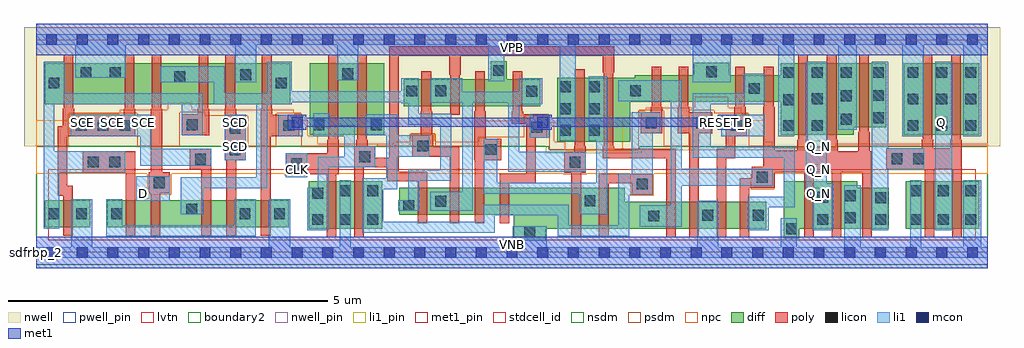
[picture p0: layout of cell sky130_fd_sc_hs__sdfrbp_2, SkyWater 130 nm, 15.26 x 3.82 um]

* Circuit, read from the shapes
.subckt sky130_fd_sc_hs__sdfrbp_2 CLK D Q Q_N RESET_B SCD SCE VGND VNB VPB VPWR
XM1 VGND SCE n1 VNB sky130_fd_pr__nfet_01v8_lvt w=0.42 l=0.15
XM2 n2 n1 n3 VNB sky130_fd_pr__nfet_01v8_lvt w=0.42 l=0.15
XM3 n4 D n2 VNB sky130_fd_pr__nfet_01v8_lvt w=0.42 l=0.15
XM4 n5 SCE n4 VNB sky130_fd_pr__nfet_01v8_lvt w=0.42 l=0.15
XM5 n3 SCD n5 VNB sky130_fd_pr__nfet_01v8_lvt w=0.42 l=0.15
XM6 VGND RESET_B n3 VNB sky130_fd_pr__nfet_01v8_lvt w=0.42 l=0.15
XM7 VGND CLK n6 VNB sky130_fd_pr__nfet_01v8_lvt w=0.74 l=0.15
XM8 n7 n6 VGND VNB sky130_fd_pr__nfet_01v8_lvt w=0.74 l=0.15
XM9 n8 n6 n4 VNB sky130_fd_pr__nfet_01v8_lvt w=0.42 l=0.15
XM10 n9 n7 n8 VNB sky130_fd_pr__nfet_01v8_lvt w=0.42 l=0.15
XM11 n10 n11 n9 VNB sky130_fd_pr__nfet_01v8_lvt w=0.42 l=0.15
XM12 VGND RESET_B n10 VNB sky130_fd_pr__nfet_01v8_lvt w=0.42 l=0.15
XM13 n11 n8 VGND VNB sky130_fd_pr__nfet_01v8_lvt w=0.64 l=0.15
XM14 n12 n7 n11 VNB sky130_fd_pr__nfet_01v8_lvt w=0.64 l=0.15
XM15 n13 n6 n12 VNB sky130_fd_pr__nfet_01v8_lvt w=0.42 l=0.15
XM16 VGND n14 n13 VNB sky130_fd_pr__nfet_01v8_lvt w=0.42 l=0.15
XM17 n15 RESET_B VGND VNB sky130_fd_pr__nfet_01v8_lvt w=0.42 l=0.15
XM18 n14 n12 n15 VNB sky130_fd_pr__nfet_01v8_lvt w=0.42 l=0.15
XM19 Q_N n12 VGND VNB sky130_fd_pr__nfet_01v8_lvt w=0.74 l=0.15 m=2
XM20 n16 n12 VGND VNB sky130_fd_pr__nfet_01v8_lvt w=0.64 l=0.15
XM21 Q n16 VGND VNB sky130_fd_pr__nfet_01v8_lvt w=0.74 l=0.15 m=2
XM22 VPWR SCE n1 VPB sky130_fd_pr__pfet_01v8 w=0.64 l=0.15
XM23 n17 SCE VPWR VPB sky130_fd_pr__pfet_01v8 w=0.64 l=0.15
XM24 n4 D n17 VPB sky130_fd_pr__pfet_01v8 w=0.64 l=0.15
XM25 n18 n1 n4 VPB sky130_fd_pr__pfet_01v8 w=0.64 l=0.15
XM26 VPWR SCD n18 VPB sky130_fd_pr__pfet_01v8 w=0.64 l=0.15
XM27 n4 RESET_B VPWR VPB sky130_fd_pr__pfet_01v8 w=0.64 l=0.15
XM28 VPWR CLK n6 VPB sky130_fd_pr__pfet_01v8 w=1.12 l=0.15
XM29 n7 n6 VPWR VPB sky130_fd_pr__pfet_01v8 w=1.12 l=0.15
XM30 n8 n7 n4 VPB sky130_fd_pr__pfet_01v8 w=0.42 l=0.15
XM31 n19 n6 n8 VPB sky130_fd_pr__pfet_01v8 w=0.42 l=0.15
XM32 VPWR n11 n19 VPB sky130_fd_pr__pfet_01v8 w=0.42 l=0.15
XM33 n8 RESET_B VPWR VPB sky130_fd_pr__pfet_01v8 w=0.42 l=0.15
XM34 n11 n8 VPWR VPB sky130_fd_pr__pfet_01v8 w=1 l=0.15
XM35 n12 n6 n11 VPB sky130_fd_pr__pfet_01v8 w=1 l=0.15
XM36 n20 n7 n12 VPB sky130_fd_pr__pfet_01v8 w=0.42 l=0.15
XM37 VPWR n14 n20 VPB sky130_fd_pr__pfet_01v8 w=0.42 l=0.15
XM38 n14 RESET_B VPWR VPB sky130_fd_pr__pfet_01v8 w=0.42 l=0.15
XM39 VPWR n12 n14 VPB sky130_fd_pr__pfet_01v8 w=0.42 l=0.15
XM40 Q_N n12 VPWR VPB sky130_fd_pr__pfet_01v8 w=1.12 l=0.15 m=2
XM41 n16 n12 VPWR VPB sky130_fd_pr__pfet_01v8 w=1 l=0.15
XM42 Q n16 VPWR VPB sky130_fd_pr__pfet_01v8 w=1.12 l=0.15 m=2
.ends

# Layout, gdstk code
import gdstk
lib = gdstk.Library(unit=1e-6, precision=1e-09)
def R(c, l, rs):  # rectangles x0, y0, x1, y1
    for r in rs: c.add(gdstk.rectangle(r[:2], r[2:], *l))
def A(c, l, x, y, w, h, nx, ny, dx, dy):  # array of equal rectangles
    R(c, l, [(x+i*dx, y+j*dy, x+i*dx+w, y+j*dy+h) for i in range(nx) for j in range(ny)])
def P(c, l, *ps):  # polygons
    for p in ps: c.add(gdstk.Polygon(p, *l))
nwell_pin = (64, 16)
nwell = (64, 20)
diff = (65, 20)
poly = (66, 20)
licon = (66, 44)
li1_pin = (67, 16)
li1 = (67, 20)
mcon = (67, 44)
met1_pin = (68, 16)
met1 = (68, 20)
stdcell_id = (81, 4)
nsdm = (93, 44)
psdm = (94, 20)
npc = (95, 20)
pwell_pin = (122, 16)
lvtn = (125, 44)
boundary2 = (236, 0)

sky130_fd_sc_hs__sdfrbp_ = lib.new_cell('sky130_fd_sc_hs__sdfrbp_2')
R(sky130_fd_sc_hs__sdfrbp_, nwell_pin, [(0,3.085,14.88,3.33)])
P(sky130_fd_sc_hs__sdfrbp_, nwell, [(15.07,3.52),(-0.19,3.52),(-0.19,1.66),(7.97,1.66),(7.97,1.555),(9.47,1.555),(9.47,1.595),(12.54,1.595),(12.54,1.66),(15.07,1.66)])
R(sky130_fd_sc_hs__sdfrbp_, diff, [(4.26,0.37,5.41,1.11), (13.6,0.37,14.745,1.11), (0.135,0.395,0.845,0.815), (1.115,0.395,3.95,0.815), (4.275,1.84,5.445,2.96), (13.565,1.84,14.745,2.96), (0.135,2.32,3.975,2.96)])
P(sky130_fd_sc_hs__sdfrbp_, diff, [(7.88,2.705),(7.36,2.705),(7.36,2.99),(7.105,2.99),(7.105,2.705),(5.745,2.705),(5.745,2.285),(7.88,2.285)],
  [(11.415,0.79),(9.2,0.79),(9.2,1.01),(5.68,1.01),(5.68,0.59),(7.47,0.59),(7.47,0.18),(7.965,0.18),(7.965,0.37),(11.415,0.37)],
  [(13.295,2.96),(11.64,2.96),(11.64,2.775),(10.84,2.775),(10.84,2.97),(10.285,2.97),(10.285,2.775),(9.36,2.775),(9.36,2.735),(8.15,2.735),(8.15,1.735),(9.29,1.735),(9.29,2.355),(11.64,2.355),(11.64,1.84),(12.78,1.84),(12.78,1.96),(13.295,1.96)],
  [(13.33,1.01),(12.84,1.01),(12.84,1.11),(11.685,1.11),(11.685,0.225),(11.935,0.225),(11.935,0.37),(13.33,0.37)])
P(sky130_fd_sc_hs__sdfrbp_, poly, [(1.55,1.58),(0.725,1.58),(0.725,1.25),(1.4,1.25),(1.4,0.265),(1.55,0.265)],
  [(1.55,2.245),(1.535,2.245),(1.535,3.09),(1.385,3.09),(1.385,2.245),(1.37,2.245),(1.37,2.15),(0.595,2.15),(0.595,2.245),(0.58,2.245),(0.58,3.09),(0.43,3.09),(0.43,2.245),(0.415,2.245),(0.415,1.97),(0.335,1.97),(0.335,0.89),(0.42,0.89),(0.42,0.265),(0.57,0.265),(0.57,1.04),(0.485,1.04),(0.485,1.82),(1.55,1.82)],
  [(2.09,1.255),(1.97,1.255),(1.97,2.245),(1.955,2.245),(1.955,3.09),(1.805,3.09),(1.805,2.245),(1.79,2.245),(1.79,1.255),(1.76,1.255),(1.76,0.925),(1.79,0.925),(1.79,0.265),(1.94,0.265),(1.94,0.925),(2.09,0.925)],
  [(2.705,2.245),(2.69,2.245),(2.69,3.09),(2.54,3.09),(2.54,2.245),(2.525,2.245),(2.525,2.16),(2.275,2.16),(2.275,1.83),(2.705,1.83)],
  [(2.735,1.62),(2.405,1.62),(2.405,1.29),(2.585,1.29),(2.585,0.265),(2.735,0.265)],
  [(3.275,2.11),(3.125,2.11),(3.125,2.245),(3.11,2.245),(3.11,3.09),(2.96,3.09),(2.96,2.245),(2.945,2.245),(2.945,1.44),(2.975,1.44),(2.975,0.265),(3.125,0.265),(3.125,1.44),(3.275,1.44)],
  [(4.115,2.15),(3.695,2.15),(3.695,2.245),(3.68,2.245),(3.68,3.09),(3.53,3.09),(3.53,2.245),(3.515,2.245),(3.515,0.265),(3.665,0.265),(3.665,1.82),(4.115,1.82)],
  [(4.735,1.765),(4.72,1.765),(4.72,3.09),(4.57,3.09),(4.57,1.765),(4.555,1.765),(4.555,1.55),(3.905,1.55),(3.905,1.22),(4.545,1.22),(4.545,0.24),(4.695,0.24),(4.695,1.22),(4.735,1.22)],
  [(6.615,1.65),(6.21,1.65),(6.21,1.83),(6.19,1.83),(6.19,2.21),(6.175,2.21),(6.175,2.835),(6.025,2.835),(6.025,2.21),(6.01,2.21),(6.01,1.83),(5.88,1.83),(5.88,1.5),(6.465,1.5),(6.465,0.46),(6.615,0.46)],
  [(7.27,1.775),(7.03,1.775),(7.03,2.21),(7.015,2.21),(7.015,2.835),(6.865,2.835),(6.865,2.21),(6.85,2.21),(6.85,1.445),(6.855,1.445),(6.855,0.46),(7.005,0.46),(7.005,1.445),(7.27,1.445)],
  [(7.99,2.165),(7.615,2.165),(7.615,2.21),(7.6,2.21),(7.6,2.835),(7.45,2.835),(7.45,2.21),(7.435,2.21),(7.435,2.015),(7.66,2.015),(7.66,1.235),(7.245,1.235),(7.245,0.46),(7.395,0.46),(7.395,1.085),(7.81,1.085),(7.81,1.795),(7.99,1.795)],
  [(8.59,1.66),(8.575,1.66),(8.575,2.865),(8.425,2.865),(8.425,1.66),(8.41,1.66),(8.41,1.575),(8.26,1.575),(8.26,1.245),(8.37,1.245),(8.37,0.24),(8.52,0.24),(8.52,1.245),(8.59,1.245)],
  [(9.64,1.235),(8.8,1.235),(8.8,0.24),(8.95,0.24),(8.95,1.085),(9.31,1.085),(9.31,0.905),(9.64,0.905)],
  [(9.79,2.28),(9.775,2.28),(9.775,2.905),(9.625,2.905),(9.625,2.28),(9.61,2.28),(9.61,2.195),(9.45,2.195),(9.45,1.865),(9.79,1.865)],
  [(10,1.625),(9.04,1.625),(9.04,1.66),(9.025,1.66),(9.025,2.81),(9.04,2.81),(9.04,3.225),(5.52,3.225),(5.52,1.48),(5.305,1.48),(5.305,1.66),(5.185,1.66),(5.185,1.765),(5.17,1.765),(5.17,3.09),(5.02,3.09),(5.02,1.765),(5.005,1.765),(5.005,1.66),(4.975,1.66),(4.975,0.24),(5.125,0.24),(5.125,1.33),(5.49,1.33),(5.49,1.11),(5.965,1.11),(5.965,0.46),(6.115,0.46),(6.115,1.26),(5.67,1.26),(5.67,3.075),(6.46,3.075),(6.46,2.78),(6.475,2.78),(6.475,2.155),(6.625,2.155),(6.625,2.78),(6.64,2.78),(6.64,3.075),(8.86,3.075),(8.86,2.81),(8.875,2.81),(8.875,1.66),(8.86,1.66),(8.86,1.475),(9.85,1.475),(9.85,0.24),(10,0.24)],
  [(10.57,2.195),(10.21,2.195),(10.21,2.28),(10.195,2.28),(10.195,2.905),(10.045,2.905),(10.045,2.28),(10.03,2.28),(10.03,1.865),(10.21,1.865),(10.21,0.24),(10.36,0.24),(10.36,1.865),(10.57,1.865)],
  [(11.11,2.15),(11.095,2.15),(11.095,2.28),(11.08,2.28),(11.08,2.905),(10.93,2.905),(10.93,2.28),(10.915,2.28),(10.915,2.15),(10.78,2.15),(10.78,1.625),(10.64,1.625),(10.64,0.24),(10.79,0.24),(10.79,1.475),(10.93,1.475),(10.93,1.82),(11.11,1.82)],
  [(13.065,1.585),(13.035,1.585),(13.035,1.885),(13.02,1.885),(13.02,3.09),(12.87,3.09),(12.87,1.885),(12.855,1.885),(12.855,1.585),(12.53,1.585),(12.53,1.765),(12.515,1.765),(12.515,3.09),(12.365,3.09),(12.365,1.765),(12.35,1.765),(12.35,1.585),(12.08,1.585),(12.08,1.765),(12.065,1.765),(12.065,3.09),(11.915,3.09),(11.915,1.765),(11.9,1.765),(11.9,1.59),(11.545,1.59),(11.545,2.28),(11.53,2.28),(11.53,2.905),(11.38,2.905),(11.38,2.28),(11.365,2.28),(11.365,1.34),(11.19,1.34),(11.19,1.16),(11,1.16),(11,0.24),(11.15,0.24),(11.15,1.01),(11.545,1.01),(11.545,1.255),(12.01,1.255),(12.01,0.24),(12.16,0.24),(12.16,1.255),(12.44,1.255),(12.44,0.24),(12.59,0.24),(12.59,1.255),(12.915,1.255),(12.915,0.24),(13.065,0.24)],
  [(14.475,1.765),(14.46,1.765),(14.46,3.09),(14.31,3.09),(14.31,1.765),(14.295,1.765),(14.295,1.63),(14.025,1.63),(14.025,1.765),(14.01,1.765),(14.01,3.09),(13.86,3.09),(13.86,1.765),(13.845,1.765),(13.845,1.63),(13.295,1.63),(13.295,1.3),(13.895,1.3),(13.895,0.24),(14.045,0.24),(14.045,1.3),(14.325,1.3),(14.325,0.24),(14.475,0.24)])
A(sky130_fd_sc_hs__sdfrbp_, licon, 4.32, 0.43, 0.17, 0.17, 3, 1, 0.43, 0)
A(sky130_fd_sc_hs__sdfrbp_, licon, 13.67, 0.43, 0.17, 0.17, 3, 2, 0.43, 0.45)
A(sky130_fd_sc_hs__sdfrbp_, licon, 8.19, 1.825, 0.17, 0.17, 1, 3, 0, 0.34)
A(sky130_fd_sc_hs__sdfrbp_, licon, 8.64, 1.825, 0.17, 0.17, 1, 3, 0, 0.34)
A(sky130_fd_sc_hs__sdfrbp_, licon, 0.62, 1.9, 0.17, 0.17, 3, 1, 0.34, 0)
A(sky130_fd_sc_hs__sdfrbp_, licon, 13.625, 1.9, 0.17, 0.17, 3, 3, 0.45, 0.415)
A(sky130_fd_sc_hs__sdfrbp_, licon, 11.68, 2.73, 0.17, 0.17, 3, 1, 0.45, 0)
R(sky130_fd_sc_hs__sdfrbp_, licon, [(7.63,0.24,7.8,0.41), (11.725,0.285,11.895,0.455), (12.215,0.43,12.385,0.6), (13.12,0.43,13.29,0.6), (12.645,0.46,12.815,0.63), (9.57,0.485,9.74,0.655), (10.415,0.495,10.585,0.665), (11.205,0.495,11.375,0.665), (0.195,0.52,0.365,0.69), (0.625,0.52,0.795,0.69), (1.175,0.52,1.345,0.69), (3.18,0.52,3.35,0.69), (3.72,0.52,3.89,0.69), (2.35,0.595,2.52,0.765), (5.74,0.65,5.91,0.82), (6.24,0.715,6.41,0.885), (8.575,0.725,8.745,0.895), (13.12,0.77,13.29,0.94), (12.215,0.78,12.385,0.95), (12.645,0.8,12.815,0.97), (4.32,0.84,4.49,1.01), (4.75,0.88,4.92,1.05), (5.18,0.88,5.35,1.05), (9.39,0.985,9.56,1.155), (1.84,1.005,2.01,1.175), (11.27,1.09,11.44,1.26), (3.985,1.3,4.155,1.47), (8.34,1.325,8.51,1.495), (0.805,1.33,0.975,1.5), (1.145,1.33,1.315,1.5), (2.485,1.37,2.655,1.54), (13.375,1.38,13.545,1.55), (13.715,1.38,13.885,1.55), (5.055,1.41,5.225,1.58), (3.025,1.52,3.195,1.69), (7.02,1.525,7.19,1.695), (5.96,1.58,6.13,1.75), (3.025,1.86,3.195,2.03), (7.74,1.875,7.91,2.045), (3.865,1.9,4.035,2.07), (10.86,1.9,11.03,2.07), (11.68,1.9,11.85,2.07), (12.13,1.9,12.3,2.07), (2.355,1.91,2.525,2.08), (5.235,1.91,5.405,2.08), (4.335,1.915,4.505,2.085), (9.53,1.945,9.7,2.115), (10.32,1.945,10.49,2.115), (12.58,2,12.75,2.17), (13.085,2.02,13.255,2.19), (11.68,2.305,11.85,2.475), (12.13,2.32,12.3,2.49), (12.58,2.365,12.75,2.535), (13.085,2.37,13.255,2.54), (7.665,2.435,7.835,2.605), (5.79,2.44,5.96,2.61), (6.24,2.445,6.41,2.615), (9.285,2.445,9.455,2.615), (11.145,2.48,11.315,2.65), (0.195,2.565,0.365,2.735), (3.745,2.565,3.915,2.735), (2.16,2.66,2.33,2.83), (3.195,2.695,3.365,2.865), (4.785,2.71,4.955,2.88), (0.695,2.73,0.865,2.9), (1.15,2.73,1.32,2.9), (13.085,2.73,13.255,2.9), (10.475,2.74,10.645,2.91), (7.15,2.76,7.32,2.93)])
A(sky130_fd_sc_hs__sdfrbp_, li1_pin, 12.155, 0.84, 0.17, 0.17, 1, 3, 0, 0.37)
A(sky130_fd_sc_hs__sdfrbp_, li1_pin, 0.635, 1.95, 0.17, 0.17, 3, 1, 0.48, 0)
R(sky130_fd_sc_hs__sdfrbp_, li1_pin, [(1.595,0.84,1.765,1.01), (3.995,1.21,4.165,1.38), (3.035,1.58,3.205,1.75), (3.035,1.95,3.205,2.12), (14.075,1.95,14.245,2.12)])
R(sky130_fd_sc_hs__sdfrbp_, li1, [(14.055,0.35,14.325,2.98), (1.565,0.81,2.09,1.19), (3.905,1.18,4.235,1.55), (2.945,1.44,3.275,2.15), (7.72,1.795,8.02,2.15), (3.785,1.82,4.165,2.15), (10.715,1.82,11.395,2.15)])
P(sky130_fd_sc_hs__sdfrbp_, li1, [(2.605,2.49),(0.445,2.49),(0.445,2.98),(0.115,2.98),(0.115,0.375),(0.365,0.375),(0.365,1.25),(1.395,1.25),(1.395,1.58),(0.285,1.58),(0.285,2.32),(2.275,2.32),(2.275,1.83),(2.605,1.83)],
  [(2.735,1.62),(1.795,1.62),(1.795,2.15),(0.54,2.15),(0.54,1.82),(1.625,1.82),(1.625,1.36),(2.735,1.36)],
  [(3.43,0.835),(3.1,0.835),(3.1,0.425),(1.345,0.425),(1.345,0.835),(1.095,0.835),(1.095,0.255),(3.43,0.255)],
  [(5.305,1.66),(4.985,1.66),(4.985,1.99),(4.585,1.99),(4.585,2.18),(4.335,2.18),(4.335,1.82),(4.815,1.82),(4.815,1.5),(4.405,1.5),(4.405,1.01),(4.24,1.01),(4.24,0.35),(4.575,0.35),(4.575,1.33),(5.305,1.33)],
  [(14.88,3.415),(0,3.415),(0,3.245),(0.615,3.245),(0.615,2.73),(1.4,2.73),(1.4,3.245),(3.115,3.245),(3.115,2.66),(3.445,2.66),(3.445,3.245),(4.705,3.245),(4.705,2.69),(5.035,2.69),(5.035,3.245),(7.07,3.245),(7.07,2.68),(7.32,2.68),(7.32,3.245),(8.19,3.245),(8.19,1.745),(8.44,1.745),(8.44,3.245),(10.265,3.245),(10.265,2.66),(10.86,2.66),(10.86,3.245),(11.6,3.245),(11.6,1.82),(11.85,1.82),(11.85,3.245),(12.54,3.245),(12.54,1.92),(12.83,1.92),(12.83,3.245),(13.545,3.245),(13.545,1.82),(13.875,1.82),(13.875,3.245),(14.495,3.245),(14.495,1.82),(14.775,1.82),(14.775,3.245),(14.88,3.245)],
  [(6.49,2.17),(5.985,2.17),(5.985,2.725),(5.71,2.725),(5.71,2.52),(3.995,2.52),(3.995,2.98),(3.615,2.98),(3.615,2.49),(2.945,2.49),(2.945,2.91),(1.94,2.91),(1.94,2.66),(2.775,2.66),(2.775,2.32),(3.445,2.32),(3.445,1.175),(2.26,1.175),(2.26,0.595),(2.61,0.595),(2.61,1.005),(3.615,1.005),(3.615,2.32),(3.995,2.32),(3.995,2.35),(5.71,2.35),(5.71,2.33),(5.815,2.33),(5.815,2),(6.32,2),(6.32,1.29),(5.82,1.29),(5.82,0.82),(5.66,0.82),(5.66,0.65),(5.99,0.65),(5.99,1.12),(6.49,1.12)],
  [(8.59,1.575),(7.55,1.575),(7.55,2.32),(7.915,2.32),(7.915,2.725),(7.55,2.725),(7.55,2.51),(6.66,2.51),(6.66,2.725),(6.16,2.725),(6.16,2.34),(6.66,2.34),(6.66,0.95),(6.16,0.95),(6.16,0.65),(6.83,0.65),(6.83,2.34),(7.38,2.34),(7.38,1.26),(8.59,1.26)],
  [(8.93,2.755),(8.64,2.755),(8.64,1.745),(8.76,1.745),(8.76,1.09),(7.21,1.09),(7.21,1.775),(7,1.775),(7,0.92),(8.495,0.92),(8.495,0.595),(8.93,0.595)],
  [(9.755,2.195),(9.31,2.195),(9.31,1.235),(9.1,1.235),(9.1,0.425),(8.325,0.425),(8.325,0.75),(7,0.75),(7,0.48),(5.43,0.48),(5.43,0.99),(5.645,0.99),(5.645,1.5),(6.15,1.5),(6.15,1.83),(5.645,1.83),(5.645,2.16),(5.155,2.16),(5.155,1.83),(5.475,1.83),(5.475,1.16),(5.1,1.16),(5.1,0.31),(7.17,0.31),(7.17,0.58),(8.155,0.58),(8.155,0.255),(9.27,0.255),(9.27,0.905),(9.64,0.905),(9.64,1.865),(9.755,1.865)],
  [(11.52,1.31),(10.095,1.31),(10.095,2.695),(9.1,2.695),(9.1,2.365),(9.925,2.365),(9.925,0.735),(9.44,0.735),(9.44,0.405),(10.095,0.405),(10.095,1.045),(11.52,1.045)],
  [(11.86,1.65),(10.545,1.65),(10.545,2.32),(11.395,2.32),(11.395,2.795),(11.065,2.795),(11.065,2.49),(10.265,2.49),(10.265,1.48),(11.69,1.48),(11.69,0.875),(11.125,0.875),(11.125,0.35),(11.455,0.35),(11.455,0.705),(11.86,0.705)],
  [(12.465,1.085),(12.36,1.085),(12.36,2.98),(12.03,2.98),(12.03,0.915),(12.135,0.915),(12.135,0.35),(12.465,0.35)],
  [(13.885,1.63),(13.325,1.63),(13.325,2.98),(13.065,2.98),(13.065,0.35),(13.325,0.35),(13.325,1.3),(13.885,1.3)],
  [(14.88,0.085),(14.78,0.085),(14.78,1.13),(14.495,1.13),(14.495,0.085),(13.84,0.085),(13.84,1.13),(13.67,1.13),(13.67,0.085),(12.895,0.085),(12.895,1.05),(12.635,1.05),(12.635,0.085),(11.895,0.085),(11.895,0.535),(11.645,0.535),(11.645,0.085),(10.665,0.085),(10.665,0.81),(10.335,0.81),(10.335,0.085),(7.985,0.085),(7.985,0.41),(7.45,0.41),(7.45,0.085),(4.92,0.085),(4.92,1.13),(4.75,1.13),(4.75,0.085),(3.97,0.085),(3.97,0.835),(3.64,0.835),(3.64,0.085),(0.875,0.085),(0.875,0.835),(0.545,0.835),(0.545,0.085),(0,0.085),(0,-0.085),(14.88,-0.085)])
A(sky130_fd_sc_hs__sdfrbp_, mcon, 0.155, -0.085, 0.17, 0.17, 31, 2, 0.48, 3.33)
R(sky130_fd_sc_hs__sdfrbp_, mcon, [(3.995,1.95,4.165,2.12), (7.835,1.95,8.005,2.12), (10.715,1.95,10.885,2.12)])
R(sky130_fd_sc_hs__sdfrbp_, met1_pin, [(0,0,14.88,0.245), (10.715,1.95,10.885,2.12), (0,3.085,14.88,3.33)])
R(sky130_fd_sc_hs__sdfrbp_, met1, [(0,-0.245,14.88,0.245), (0,3.085,14.88,3.575)])
P(sky130_fd_sc_hs__sdfrbp_, met1, [(10.945,2.15),(10.655,2.15),(10.655,2.105),(8.065,2.105),(8.065,2.15),(7.775,2.15),(7.775,2.105),(4.225,2.105),(4.225,2.15),(3.935,2.15),(3.935,1.92),(4.225,1.92),(4.225,1.965),(7.775,1.965),(7.775,1.92),(8.065,1.92),(8.065,1.965),(10.655,1.965),(10.655,1.92),(10.945,1.92)])
R(sky130_fd_sc_hs__sdfrbp_, stdcell_id, [(0,0,14.88,3.33)])
P(sky130_fd_sc_hs__sdfrbp_, nsdm, [(14.88,1.66),(9.42,1.66),(9.42,1.605),(8.02,1.605),(8.02,1.66),(0,1.66),(0,-0.19),(14.88,-0.19)])
P(sky130_fd_sc_hs__sdfrbp_, psdm, [(14.88,3.52),(0,3.52),(0,1.66),(0.51,1.66),(0.51,2.18),(1.58,2.18),(1.58,1.66),(2.245,1.66),(2.245,2.19),(2.635,2.19),(2.635,2.14),(3.305,2.14),(3.305,1.66),(3.755,1.66),(3.755,2.18),(4.145,2.18),(4.145,1.66),(4.945,1.66),(4.945,1.69),(5.335,1.69),(5.335,1.66),(5.85,1.66),(5.85,1.86),(6.24,1.86),(6.24,1.66),(6.91,1.66),(6.91,1.805),(7.63,1.805),(7.63,2.155),(8.02,2.155),(8.02,1.605),(9.42,1.605),(9.42,2.225),(9.81,2.225),(9.81,1.66),(10.21,1.66),(10.21,2.225),(10.6,2.225),(10.6,2.18),(11.14,2.18),(11.14,1.66),(11.52,1.66),(11.52,1.645),(12.49,1.645),(12.49,1.66),(14.88,1.66)])
P(sky130_fd_sc_hs__sdfrbp_, npc, [(14.88,1.7),(12.5,1.7),(12.5,1.635),(11.51,1.635),(11.51,1.73),(11.395,1.73),(11.395,2.065),(11.13,2.065),(11.13,2.17),(11.025,2.17),(11.025,2.265),(10.825,2.265),(10.825,2.435),(10.3,2.435),(10.3,2.265),(9.535,2.265),(9.535,2.215),(9.43,2.215),(9.43,2.11),(9.165,2.11),(9.165,1.595),(8.275,1.595),(8.275,1.735),(8.1,1.735),(8.1,2.04),(8.01,2.04),(8.01,2.145),(7.64,2.145),(7.64,2.06),(7.025,2.06),(7.025,1.795),(6.92,1.795),(6.92,1.73),(6.23,1.73),(6.23,1.85),(5.86,1.85),(5.86,1.73),(5.585,1.73),(5.585,1.7),(4.4,1.7),(4.4,1.825),(4.245,1.825),(4.245,2.065),(4.135,2.065),(4.135,2.17),(4.03,2.17),(4.03,2.23),(2.435,2.23),(2.435,2.34),(2.06,2.34),(2.06,2.23),(1.305,2.23),(1.305,2.17),(0.52,2.17),(0.52,2.065),(0,2.065),(0,1.23),(1.74,1.23),(1.74,0.905),(2.11,0.905),(2.11,1.23),(3.885,1.23),(3.885,1.2),(4.255,1.2),(4.255,1.23),(8.24,1.23),(8.24,1.225),(8.61,1.225),(8.61,1.23),(9.29,1.23),(9.29,0.885),(9.66,0.885),(9.66,1.23),(11.17,1.23),(11.17,0.99),(11.54,0.99),(11.54,1.23),(14.88,1.23)])
R(sky130_fd_sc_hs__sdfrbp_, pwell_pin, [(0,0,14.88,0.245)])
R(sky130_fd_sc_hs__sdfrbp_, lvtn, [(0.19,0.19,14.69,1.3)])
R(sky130_fd_sc_hs__sdfrbp_, boundary2, [(0,0,14.88,3.33)])
sky130_fd_sc_hs__sdfrbp_.add(gdstk.Label('sdfrbp_2', (0,0), layer=83, texttype=44))
sky130_fd_sc_hs__sdfrbp_.add(gdstk.Label('VNB', (7.44,0.123), layer=64, texttype=59))
sky130_fd_sc_hs__sdfrbp_.add(gdstk.Label('VPB', (7.44,3.208), layer=64, texttype=5))
sky130_fd_sc_hs__sdfrbp_.add(gdstk.Label('RESET_B', (10.8,2.035), layer=68, texttype=5))
sky130_fd_sc_hs__sdfrbp_.add(gdstk.Label('VPWR', (7.44,3.208), layer=68, texttype=5))
sky130_fd_sc_hs__sdfrbp_.add(gdstk.Label('VGND', (7.44,0.123), layer=68, texttype=5))
sky130_fd_sc_hs__sdfrbp_.add(gdstk.Label('D', (1.68,0.925), layer=67, texttype=5))
sky130_fd_sc_hs__sdfrbp_.add(gdstk.Label('CLK', (4.08,1.295), layer=67, texttype=5))
sky130_fd_sc_hs__sdfrbp_.add(gdstk.Label('SCE', (0.72,2.035), layer=67, texttype=5))
sky130_fd_sc_hs__sdfrbp_.add(gdstk.Label('SCE', (1.2,2.035), layer=67, texttype=5))
sky130_fd_sc_hs__sdfrbp_.add(gdstk.Label('SCE', (1.68,2.035), layer=67, texttype=5))
sky130_fd_sc_hs__sdfrbp_.add(gdstk.Label('SCD', (3.12,1.665), layer=67, texttype=5))
sky130_fd_sc_hs__sdfrbp_.add(gdstk.Label('SCD', (3.12,2.035), layer=67, texttype=5))
sky130_fd_sc_hs__sdfrbp_.add(gdstk.Label('Q', (14.16,2.035), layer=67, texttype=5))
sky130_fd_sc_hs__sdfrbp_.add(gdstk.Label('Q_N', (12.24,0.925), layer=67, texttype=5))
sky130_fd_sc_hs__sdfrbp_.add(gdstk.Label('Q_N', (12.24,1.295), layer=67, texttype=5))
sky130_fd_sc_hs__sdfrbp_.add(gdstk.Label('Q_N', (12.24,1.665), layer=67, texttype=5))

lib.write_gds('sky130_fd_sc_hs__sdfrbp_2.gds')
